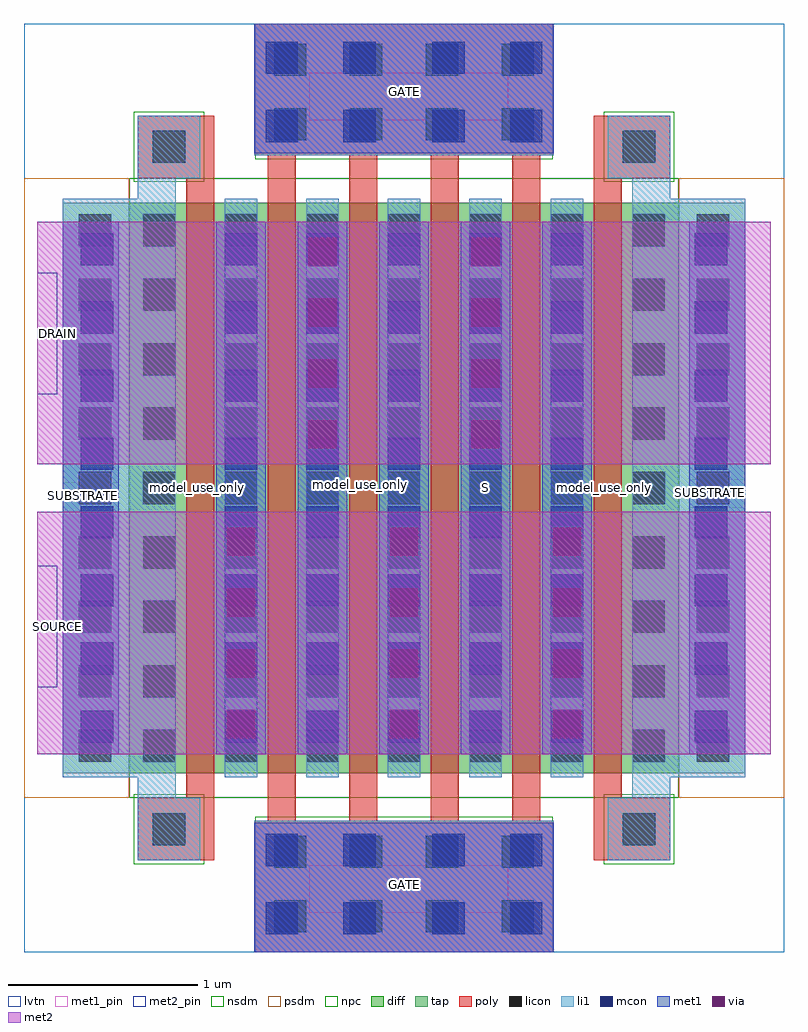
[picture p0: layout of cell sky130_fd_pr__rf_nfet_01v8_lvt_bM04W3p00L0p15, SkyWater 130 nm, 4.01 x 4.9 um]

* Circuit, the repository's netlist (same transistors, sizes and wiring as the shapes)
* Copyright 2020 The SkyWater PDK Authors
*
* Licensed under the Apache License, Version 2.0 (the "License");
* you may not use this file except in compliance with the License.
* You may obtain a copy of the License at
*
*     https://www.apache.org/licenses/LICENSE-2.0
*
* Unless required by applicable law or agreed to in writing, software
* distributed under the License is distributed on an "AS IS" BASIS,
* WITHOUT WARRANTIES OR CONDITIONS OF ANY KIND, either express or implied.
* See the License for the specific language governing permissions and
* limitations under the License.
*
* SPDX-License-Identifier: Apache-2.0


.subckt sky130_fd_pr__rf_nfet_01v8_lvt_bM04W3p00L0p15 DRAIN GATE SOURCE SUBSTRATE
X0 SOURCE SUBSTRATE SUBSTRATE SUBSTRATE sky130_fd_pr__nfet_01v8_lvt w=3.01e+06u l=150000u
X1 DRAIN GATE SOURCE SUBSTRATE sky130_fd_pr__nfet_01v8_lvt w=3.01e+06u l=150000u
X2 DRAIN GATE SOURCE SUBSTRATE sky130_fd_pr__nfet_01v8_lvt w=3.01e+06u l=150000u
X3 SOURCE GATE DRAIN SUBSTRATE sky130_fd_pr__nfet_01v8_lvt w=3.01e+06u l=150000u
X4 SOURCE GATE DRAIN SUBSTRATE sky130_fd_pr__nfet_01v8_lvt w=3.01e+06u l=150000u
X5 SUBSTRATE SUBSTRATE SOURCE SUBSTRATE sky130_fd_pr__nfet_01v8_lvt w=3.01e+06u l=150000u
.ends

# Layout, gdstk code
import gdstk
lib = gdstk.Library(unit=1e-6, precision=1e-09)
def R(c, l, rs):  # rectangles x0, y0, x1, y1
    for r in rs: c.add(gdstk.rectangle(r[:2], r[2:], *l))
def A(c, l, x, y, w, h, nx, ny, dx, dy):  # array of equal rectangles
    R(c, l, [(x+i*dx, y+j*dy, x+i*dx+w, y+j*dy+h) for i in range(nx) for j in range(ny)])
diff = (65, 20)
tap = (65, 44)
poly = (66, 20)
licon = (66, 44)
li1 = (67, 20)
mcon = (67, 44)
met1_pin = (68, 16)
met1 = (68, 20)
via = (68, 44)
met2_pin = (69, 16)
met2 = (69, 20)
nsdm = (93, 44)
psdm = (94, 20)
npc = (95, 20)
lvtn = (125, 44)

sky130_fd_pr__rf_nfet_01 = lib.new_cell('sky130_fd_pr__rf_nfet_01v8_lvt_bM04W3p00L0p15')
R(sky130_fd_pr__rf_nfet_01, diff, [(0.555,0.945,3.455,3.955)])
R(sky130_fd_pr__rf_nfet_01, tap, [(0.205,0.945,0.555,3.955), (3.455,0.945,3.805,3.955)])
A(sky130_fd_pr__rf_nfet_01, poly, 1.285, 0.695, 0.15, 3.51, 4, 1, 0.43, 0)
R(sky130_fd_pr__rf_nfet_01, poly, [(1.215,0,2.795,0.695), (0.6,0.485,0.93,0.815), (0.855,0.485,1.005,4.415), (3.005,0.485,3.155,4.415), (3.08,0.485,3.41,0.815), (0.6,4.085,0.93,4.415), (3.08,4.085,3.41,4.415), (1.215,4.205,2.795,4.9)])
A(sky130_fd_pr__rf_nfet_01, licon, 1.32, 0.105, 0.17, 0.17, 4, 2, 0.4, 0.34)
A(sky130_fd_pr__rf_nfet_01, licon, 0.29, 1.005, 0.17, 0.17, 1, 9, 0, 0.34)
A(sky130_fd_pr__rf_nfet_01, licon, 0.63, 1.005, 0.17, 0.17, 7, 9, 0.43, 0.34)
A(sky130_fd_pr__rf_nfet_01, licon, 3.55, 1.005, 0.17, 0.17, 1, 9, 0, 0.34)
A(sky130_fd_pr__rf_nfet_01, licon, 1.32, 4.285, 0.17, 0.17, 4, 2, 0.4, 0.34)
R(sky130_fd_pr__rf_nfet_01, licon, [(0.68,0.565,0.85,0.735), (3.16,0.565,3.33,0.735), (0.68,4.165,0.85,4.335), (3.16,4.165,3.33,4.335)])
A(sky130_fd_pr__rf_nfet_01, li1, 1.06, 0.925, 0.17, 3.05, 5, 1, 0.43, 0)
A(sky130_fd_pr__rf_nfet_01, li1, 1.06, 1.105, 0.17, 2.69, 5, 1, 0.43, 0)
R(sky130_fd_pr__rf_nfet_01, li1, [(1.215,0,2.795,0.695), (0.6,0.485,0.93,0.815), (3.08,0.485,3.41,0.815), (0.6,0.815,0.8,0.925), (3.21,0.815,3.41,0.925), (0.205,0.925,0.8,3.975), (3.21,0.925,3.805,3.975), (0.6,3.975,0.8,4.085), (3.21,3.975,3.41,4.085), (0.6,4.085,0.93,4.415), (3.08,4.085,3.41,4.415), (1.215,4.205,2.795,4.9)])
A(sky130_fd_pr__rf_nfet_01, mcon, 0.3, 1.105, 0.17, 0.17, 1, 8, 0, 0.36)
A(sky130_fd_pr__rf_nfet_01, mcon, 1.06, 1.105, 0.17, 0.17, 5, 8, 0.43, 0.36)
A(sky130_fd_pr__rf_nfet_01, mcon, 3.54, 1.105, 0.17, 0.17, 1, 8, 0, 0.36)
R(sky130_fd_pr__rf_nfet_01, mcon, [(1.275,0.095,1.445,0.265), (1.685,0.095,1.855,0.265), (2.155,0.095,2.325,0.265), (2.565,0.095,2.735,0.265), (1.275,0.455,1.445,0.625), (1.685,0.455,1.855,0.625), (2.155,0.455,2.325,0.625), (2.565,0.455,2.735,0.625), (1.275,4.275,1.445,4.445), (1.685,4.275,1.855,4.445), (2.155,4.275,2.325,4.445), (2.565,4.275,2.735,4.445), (1.275,4.635,1.445,4.805), (1.685,4.635,1.855,4.805), (2.155,4.635,2.325,4.805), (2.565,4.635,2.735,4.805)])
R(sky130_fd_pr__rf_nfet_01, met1_pin, [(1.505,0.21,2.555,0.46), (0.205,2.33,0.5,2.48), (3.51,2.345,3.805,2.495), (1.505,4.39,2.555,4.64)])
A(sky130_fd_pr__rf_nfet_01, met1, 1.015, 1.045, 0.26, 2.81, 5, 1, 0.43, 0)
A(sky130_fd_pr__rf_nfet_01, met1, 1.015, 1.045, 0.26, 1.28, 3, 1, 0.86, 0)
R(sky130_fd_pr__rf_nfet_01, met1, [(1.215,0,2.795,0.685), (0.205,1.045,0.5,3.855), (3.51,1.045,3.805,3.855), (1.445,2.575,1.705,3.855), (2.305,2.575,2.565,3.855), (1.215,4.215,2.795,4.9)])
A(sky130_fd_pr__rf_nfet_01, via, 1.07, 1.13, 0.15, 0.15, 3, 4, 0.86, 0.32)
A(sky130_fd_pr__rf_nfet_01, via, 1.5, 2.66, 0.15, 0.15, 1, 4, 0, 0.32)
A(sky130_fd_pr__rf_nfet_01, via, 2.36, 2.66, 0.15, 0.15, 1, 4, 0, 0.32)
R(sky130_fd_pr__rf_nfet_01, met2_pin, [(0.07,1.4,0.175,2.04), (0.07,2.945,0.175,3.585)])
A(sky130_fd_pr__rf_nfet_01, met2, 1.015, 1.045, 0.26, 1.28, 3, 1, 0.86, 0)
R(sky130_fd_pr__rf_nfet_01, met2, [(0.07,1.045,3.94,2.325), (0.07,2.575,3.94,3.855), (1.445,2.575,1.705,3.855), (2.305,2.575,2.565,3.855)])
R(sky130_fd_pr__rf_nfet_01, nsdm, [(0.555,0.815,3.455,4.085)])
R(sky130_fd_pr__rf_nfet_01, psdm, [(0,0.815,0.555,4.085), (3.455,0.815,4.01,4.085)])
R(sky130_fd_pr__rf_nfet_01, npc, [(1.22,0,2.79,0.715), (0.58,0.465,0.95,0.835), (3.06,0.465,3.43,0.835), (0.58,4.065,0.95,4.435), (3.06,4.065,3.43,4.435), (1.22,4.185,2.79,4.9)])
R(sky130_fd_pr__rf_nfet_01, lvtn, [(0,0,4.01,4.9)])
sky130_fd_pr__rf_nfet_01.add(gdstk.Label('GATE', (2.005,4.54), layer=68, texttype=5))
sky130_fd_pr__rf_nfet_01.add(gdstk.Label('GATE', (2.005,0.36), layer=68, texttype=5))
sky130_fd_pr__rf_nfet_01.add(gdstk.Label('model_use_only', (3.065,2.45), layer=66, texttype=83))
sky130_fd_pr__rf_nfet_01.add(gdstk.Label('model_use_only', (0.915,2.45), layer=66, texttype=83))
sky130_fd_pr__rf_nfet_01.add(gdstk.Label('model_use_only', (1.775,2.47), layer=66, texttype=83))
sky130_fd_pr__rf_nfet_01.add(gdstk.Label('model_use_only', (2.2,2.49), layer=66, texttype=83))
sky130_fd_pr__rf_nfet_01.add(gdstk.Label('model_use_only', (2.66,2.505), layer=66, texttype=83))
sky130_fd_pr__rf_nfet_01.add(gdstk.Label('model_use_only', (1.33,2.47), layer=66, texttype=83))
sky130_fd_pr__rf_nfet_01.add(gdstk.Label('SUBSTRATE', (0.315,2.41), layer=68, texttype=16))
sky130_fd_pr__rf_nfet_01.add(gdstk.Label('SUBSTRATE', (3.62,2.425), layer=68, texttype=16))
sky130_fd_pr__rf_nfet_01.add(gdstk.Label('S', (1.145,2.45), layer=83, texttype=44))
sky130_fd_pr__rf_nfet_01.add(gdstk.Label('S', (1.575,2.45), layer=83, texttype=44))
sky130_fd_pr__rf_nfet_01.add(gdstk.Label('S', (2.005,2.45), layer=83, texttype=44))
sky130_fd_pr__rf_nfet_01.add(gdstk.Label('S', (2.435,2.45), layer=83, texttype=44))
sky130_fd_pr__rf_nfet_01.add(gdstk.Label('S', (1.145,2.45), layer=83, texttype=44))
sky130_fd_pr__rf_nfet_01.add(gdstk.Label('D', (1.575,2.45), layer=83, texttype=44))
sky130_fd_pr__rf_nfet_01.add(gdstk.Label('S', (2.005,2.45), layer=83, texttype=44))
sky130_fd_pr__rf_nfet_01.add(gdstk.Label('D', (2.435,2.45), layer=83, texttype=44))
sky130_fd_pr__rf_nfet_01.add(gdstk.Label('S', (2.865,2.45), layer=83, texttype=44))
sky130_fd_pr__rf_nfet_01.add(gdstk.Label('dummy_poly', (0.91,2.48), layer=83, texttype=44))
sky130_fd_pr__rf_nfet_01.add(gdstk.Label('dummy_poly', (3.065,2.44), layer=83, texttype=44))
sky130_fd_pr__rf_nfet_01.add(gdstk.Label('SOURCE', (0.175,1.72), layer=69, texttype=5))
sky130_fd_pr__rf_nfet_01.add(gdstk.Label('DRAIN', (0.175,3.265), layer=69, texttype=5))

lib.write_gds('sky130_fd_pr__rf_nfet_01v8_lvt_bM04W3p00L0p15.gds')
